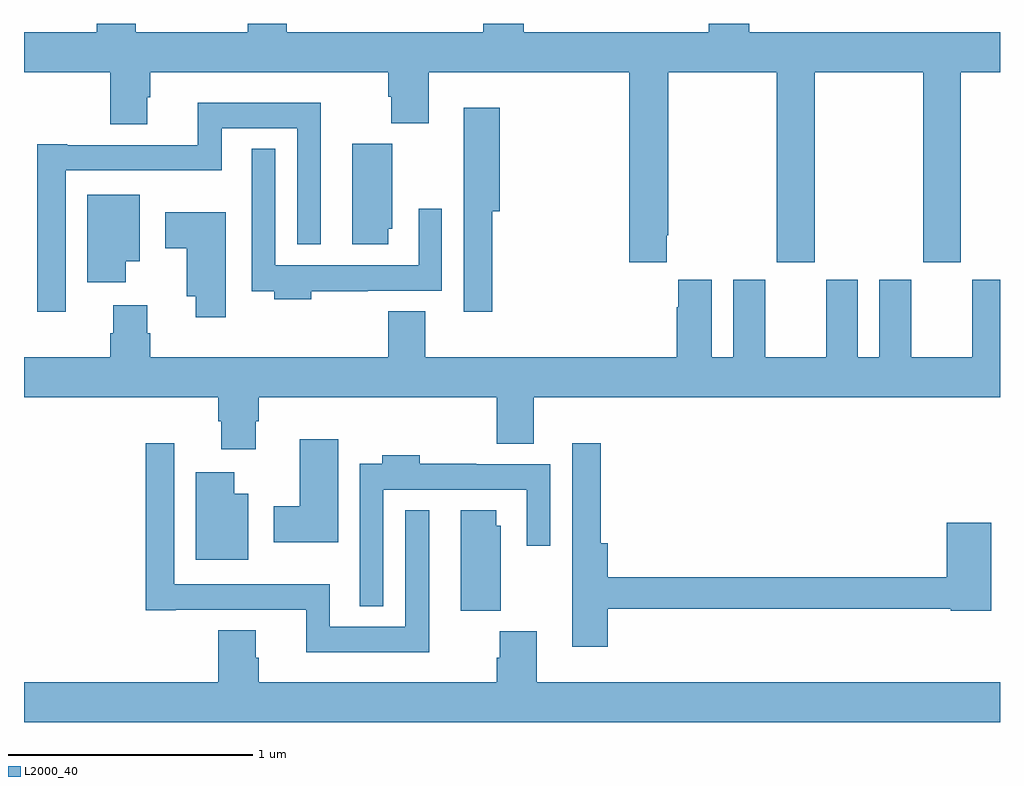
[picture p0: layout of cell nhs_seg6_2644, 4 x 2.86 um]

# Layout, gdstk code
import gdstk
lib = gdstk.Library(unit=1e-6, precision=1e-09)
def P(c, l, *ps):  # polygons
    for p in ps: c.add(gdstk.Polygon(p, *l))
L2000_40 = (2000, 40)

nhs_seg6_2644 = lib.new_cell('nhs_seg6_2644')
P(nhs_seg6_2644, L2000_40, [(269.635,982.633),(269.64,982.633),(269.64,983.3),(270.085,983.3),(270.085,982.521),(270.24,982.521),(270.24,983.3),(270.685,983.3),(270.685,982.521),(270.84,982.521),(270.84,983.3),(271,983.3),(271,983.464),(269.972,983.464),(269.972,983.5),(269.807,983.5),(269.807,983.464),(269.048,983.464),(269.048,983.5),(268.883,983.5),(268.883,983.464),(268.076,983.464),(268.076,983.5),(267.916,983.5),(267.916,983.464),(267.459,983.464),(267.459,983.5),(267.299,983.5),(267.299,983.464),(267,983.464),(267,983.3),(267.353,983.3),(267.353,983.087),(267.505,983.087),(267.505,983.199),(267.518,983.199),(267.518,983.3),(268.493,983.3),(268.493,983.201),(268.505,983.201),(268.505,983.092),(268.658,983.092),(268.658,983.3),(269.48,983.3),(269.48,982.521),(269.635,982.521)],
  [(267.171,982.898),(267.81,982.898),(267.81,983.072),(268.119,983.072),(268.119,982.595),(268.216,982.595),(268.216,983.176),(267.713,983.176),(267.713,983.002),(267.178,983.002),(267.178,983.005),(267.055,983.005),(267.055,982.32),(267.171,982.32)],
  [(268.919,982.73),(268.949,982.73),(268.949,983.155),(268.802,983.155),(268.802,982.834),(268.803,982.834),(268.803,982.32),(268.919,982.32)],
  [(268.492,982.659),(268.51,982.659),(268.51,983.007),(268.346,983.007),(268.346,982.596),(268.492,982.596)],
  [(268.178,982.404),(268.409,982.404),(268.409,982.406),(268.713,982.406),(268.713,982.741),(268.617,982.741),(268.617,982.51),(268.029,982.51),(268.029,982.987),(267.933,982.987),(267.933,982.404),(268.025,982.404),(268.025,982.37),(268.178,982.37)],
  [(267.418,982.526),(267.475,982.526),(267.475,982.798),(267.26,982.798),(267.26,982.44),(267.418,982.44)],
  [(267.826,982.726),(267.579,982.726),(267.579,982.579),(267.668,982.579),(267.668,982.382),(267.704,982.382),(267.704,982.296),(267.826,982.296)],
  [(267.949,981.87),(267.962,981.87),(267.962,981.968),(268.937,981.968),(268.937,981.779),(269.089,981.779),(269.089,981.968),(271,981.968),(271,982.45),(270.887,982.45),(270.887,982.132),(270.637,982.132),(270.637,982.45),(270.506,982.45),(270.506,982.132),(270.418,982.132),(270.418,982.45),(270.287,982.45),(270.287,982.132),(270.037,982.132),(270.037,982.45),(269.906,982.45),(269.906,982.132),(269.818,982.132),(269.818,982.45),(269.681,982.45),(269.681,982.337),(269.675,982.337),(269.675,982.132),(268.645,982.132),(268.645,982.321),(268.493,982.321),(268.493,982.132),(267.518,982.132),(267.518,982.23),(267.505,982.23),(267.505,982.345),(267.365,982.345),(267.365,982.23),(267.353,982.23),(267.353,982.132),(267,982.132),(267,981.968),(267.797,981.968),(267.797,981.87),(267.809,981.87),(267.809,981.756),(267.949,981.756)],
  [(268.288,981.796),(268.13,981.796),(268.13,981.522),(268.023,981.522),(268.023,981.374),(268.288,981.374)],
  [(269.393,981.102),(270.798,981.102),(270.798,981.094),(270.965,981.094),(270.965,981.454),(270.782,981.454),(270.782,981.23),(269.393,981.23),(269.393,981.37),(269.363,981.37),(269.363,981.781),(269.247,981.781),(269.247,981.207),(269.246,981.207),(269.246,980.946),(269.393,980.946)],
  [(268.66,981.505),(268.563,981.505),(268.563,981.028),(268.254,981.028),(268.254,981.202),(267.615,981.202),(267.615,981.781),(267.499,981.781),(267.499,981.096),(267.622,981.096),(267.622,981.098),(268.157,981.098),(268.157,980.924),(268.66,980.924)],
  [(268.473,981.59),(269.061,981.59),(269.061,981.36),(269.157,981.36),(269.157,981.694),(268.853,981.694),(268.853,981.697),(268.622,981.697),(268.622,981.73),(268.469,981.73),(268.469,981.697),(268.377,981.697),(268.377,981.113),(268.473,981.113)],
  [(267.919,981.574),(267.862,981.574),(267.862,981.661),(267.704,981.661),(267.704,981.302),(267.919,981.302)],
  [(268.954,981.441),(268.936,981.441),(268.936,981.505),(268.79,981.505),(268.79,981.094),(268.954,981.094)],
  [(271,980.8),(269.102,980.8),(269.102,981.009),(268.949,981.009),(268.949,980.9),(268.937,980.9),(268.937,980.8),(267.962,980.8),(267.962,980.901),(267.949,980.901),(267.949,981.013),(267.797,981.013),(267.797,980.8),(267,980.8),(267,980.636),(271,980.636)])

lib.write_gds('nhs_seg6_2644.gds')
